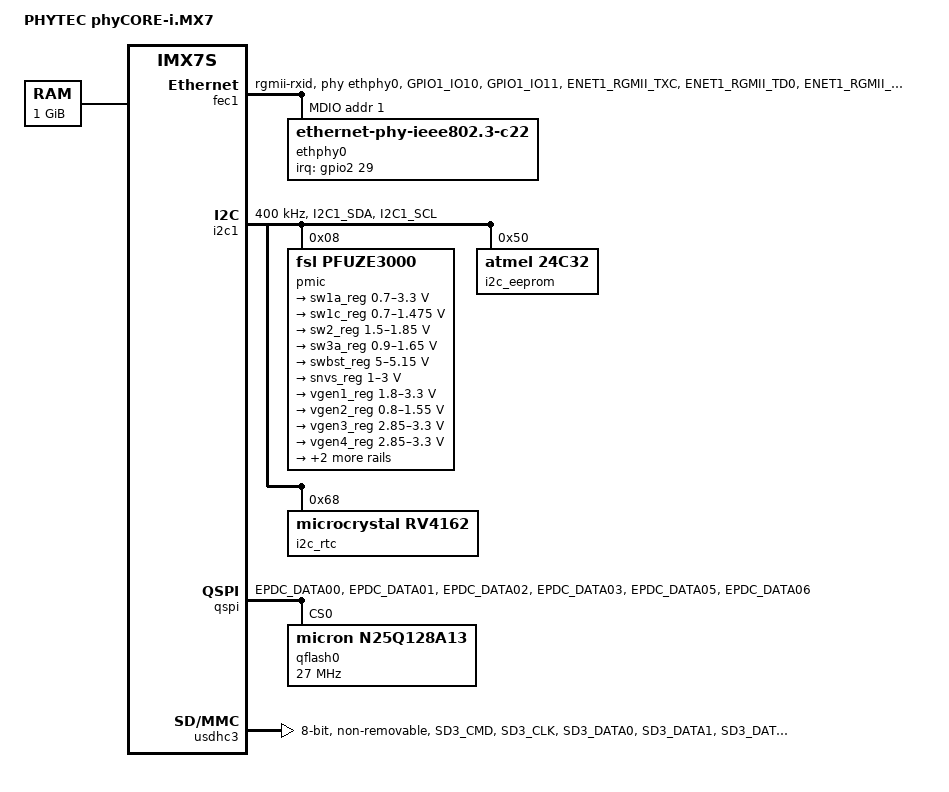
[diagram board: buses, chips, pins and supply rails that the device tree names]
// SPDX-License-Identifier: GPL-2.0-or-later
/* Copyright (C) 2015-2021 PHYTEC America, LLC */

#include <dt-bindings/input/input.h>

/ {
	model = "PHYTEC phyCORE-i.MX7";
	compatible = "phytec,imx7-phycore-som", "fsl,imx7d", "fsl,imx7s";

	memory@80000000 {
		device_type = "memory";
		reg = <0x80000000 0x40000000>;	/* 1GB */
	};

	reserved-memory {
		#address-cells = <1>;
		#size-cells = <1>;
		ranges;

		linux,cma {
			compatible = "shared-dma-pool";
			reusable;
			size = <0x4000000>;
			linux,cma-default;
		};
	};
};
/*
&busfreq {
	fsl,freq_scaling_disabled;
};
*/

&cpu0 {
	cpu-supply = <&sw1a_reg>;
};

&fec1 {
	pinctrl-names = "default";
	pinctrl-0 = <&pinctrl_enet1>;
	assigned-clocks = <&clks IMX7D_ENET1_TIME_ROOT_SRC>,
			<&clks IMX7D_ENET1_TIME_ROOT_CLK>;
	assigned-clock-parents = <&clks IMX7D_PLL_ENET_MAIN_100M_CLK>;
	assigned-clock-rates = <0>, <100000000>;
	phy-mode = "rgmii-rxid";
	phy-handle = <&ethphy0>;
	fsl,magic-packet;
	phy-reset-gpios = <&gpio2 28 GPIO_ACTIVE_LOW>;
	status = "okay";

	mdio: mdio {
		#address-cells = <1>;
		#size-cells = <0>;

		/* ETH1 PHY on SOM, 25MHz crystal */
		ethphy0: ethernet-phy@1 {
			compatible = "ethernet-phy-ieee802.3-c22";
			interrupt-parent = <&gpio2>;
			interrupts = <29 0>;
			reg = <1>;
		};
	};
};

&gpmi {
	pinctrl-names = "default";
	pinctrl-0 = <&pinctrl_gpmi_nand>;
	nand-on-flash-bbt;
	#address-cells = <1>;
	#size-cells = <1>;
	status = "disabled";
};

&i2c1 {
	clock-frequency = <400000>;
	pinctrl-names = "default";
	pinctrl-0 = <&pinctrl_i2c1>;
	status = "okay";

	pmic: pfuze3000@8 {
		pinctrl-names = "default";
		pinctrl-0 = <&pinctrl_pmic>;
		compatible = "fsl,pfuze3000";
		reg = <0x08>;

		regulators {
			sw1a_reg: sw1a {
				regulator-min-microvolt = <700000>;
				regulator-max-microvolt = <3300000>;
				regulator-boot-on;
				regulator-always-on;
				regulator-ramp-delay = <6250>;
			};

			/* use sw1c_reg to align with pfuze100/pfuze200 */
			sw1c_reg: sw1b {
				regulator-min-microvolt = <700000>;
				regulator-max-microvolt = <1475000>;
				regulator-boot-on;
				regulator-always-on;
				regulator-ramp-delay = <6250>;
			};

			sw2_reg: sw2 {
				regulator-min-microvolt = <1500000>;
				regulator-max-microvolt = <1850000>;
				regulator-boot-on;
				regulator-always-on;
			};

			sw3a_reg: sw3 {
				regulator-min-microvolt = <900000>;
				regulator-max-microvolt = <1650000>;
				regulator-boot-on;
				regulator-always-on;
			};

			swbst_reg: swbst {
				regulator-min-microvolt = <5000000>;
				regulator-max-microvolt = <5150000>;
			};

			snvs_reg: vsnvs {
				regulator-min-microvolt = <1000000>;
				regulator-max-microvolt = <3000000>;
				regulator-boot-on;
				regulator-always-on;
			};

			vref_reg: vrefddr {
				regulator-boot-on;
				regulator-always-on;
			};

			vgen1_reg: vldo1 {
				regulator-min-microvolt = <1800000>;
				regulator-max-microvolt = <3300000>;
				regulator-always-on;
			};

			vgen2_reg: vldo2 {
				regulator-min-microvolt = <800000>;
				regulator-max-microvolt = <1550000>;
				regulator-always-on;
			};

			vgen3_reg: vccsd {
				regulator-min-microvolt = <2850000>;
				regulator-max-microvolt = <3300000>;
				regulator-always-on;
			};

			vgen4_reg: v33 {
				regulator-min-microvolt = <2850000>;
				regulator-max-microvolt = <3300000>;
				regulator-always-on;
			};

			vgen5_reg: vldo3 {
				regulator-min-microvolt = <1800000>;
				regulator-max-microvolt = <3300000>;
				regulator-always-on;
			};

			vgen6_reg: vldo4 {
				regulator-min-microvolt = <1800000>;
				regulator-max-microvolt = <3300000>;
				regulator-always-on;
			};
		};
	};

	i2c_eeprom: eeprom@50 {
		compatible = "atmel,24c32";
		pagesize = <32>;
		reg = <0x50>;
	};

	i2c_rtc: rtc@68 {
		compatible = "microcrystal,rv4162";
		reg = <0x68>;
	};
};


&qspi {
	pinctrl-names = "default";
	pinctrl-0 = <&pinctrl_qspi>;
	status = "okay";

	qflash0: norflash@0 {
		#address-cells = <1>;
		#size-cells = <1>;
		compatible = "micron,n25q128a13", "jedec,spi-nor";
		reg = <0>;
		spi-max-frequency = <27000000>; /* 108MHz/4 */
		m25p,fast-read;
	};
};

&usdhc3 {
	pinctrl-names = "default", "state_100mhz", "state_200mhz";
	pinctrl-0 = <&pinctrl_usdhc3>;
	pinctrl-1 = <&pinctrl_usdhc3_100mhz>;
	pinctrl-2 = <&pinctrl_usdhc3_200mhz>;
	assigned-clocks = <&clks IMX7D_USDHC3_ROOT_CLK>;
	assigned-clock-rates = <400000000>;
	max-frequency = <100000000>;
	bus-width = <8>;
	tuning-step = <2>;
	non-removable;
	auto-cmd23-broken;
	status = "okay";
};

&iomuxc {
	pinctrl_enet1: enet1grp {
		fsl,pins = <
			MX7D_PAD_GPIO1_IO10__ENET1_MDIO			0x7
			MX7D_PAD_GPIO1_IO11__ENET1_MDC			0x7
			MX7D_PAD_ENET1_RGMII_TXC__ENET1_RGMII_TXC	0x5
			MX7D_PAD_ENET1_RGMII_TD0__ENET1_RGMII_TD0	0x5
			MX7D_PAD_ENET1_RGMII_TD1__ENET1_RGMII_TD1	0x5
			MX7D_PAD_ENET1_RGMII_TD2__ENET1_RGMII_TD2	0x5
			MX7D_PAD_ENET1_RGMII_TD3__ENET1_RGMII_TD3	0x5
			MX7D_PAD_ENET1_RGMII_TX_CTL__ENET1_RGMII_TX_CTL	0x5
			MX7D_PAD_ENET1_RGMII_RXC__ENET1_RGMII_RXC	0x5
			MX7D_PAD_ENET1_RGMII_RD0__ENET1_RGMII_RD0	0x5
			MX7D_PAD_ENET1_RGMII_RD1__ENET1_RGMII_RD1	0x5
			MX7D_PAD_ENET1_RGMII_RD2__ENET1_RGMII_RD2	0x5
			MX7D_PAD_ENET1_RGMII_RD3__ENET1_RGMII_RD3	0x5
			MX7D_PAD_ENET1_RGMII_RX_CTL__ENET1_RGMII_RX_CTL	0x5
			/* ETH1 RESET_N */
			MX7D_PAD_EPDC_BDR0__GPIO2_IO28			0x59
			/* ETH1 INT_N */
			MX7D_PAD_EPDC_BDR1__GPIO2_IO29			0x59
		>;
	};

	pinctrl_gpmi_nand: gpmi-nandgrp {
		fsl,pins = <
			MX7D_PAD_SD3_CLK__NAND_CLE		0x72
			MX7D_PAD_SD3_CMD__NAND_ALE		0x76
			MX7D_PAD_SAI1_MCLK__NAND_WP_B		0x72
			MX7D_PAD_SAI1_TX_BCLK__NAND_CE0_B	0x72
			MX7D_PAD_SAI1_RX_DATA__NAND_CE1_B	0x72
			MX7D_PAD_SAI1_TX_DATA__NAND_READY_B	0x76
			MX7D_PAD_SD3_RESET_B__NAND_WE_B		0x71
			MX7D_PAD_SD3_STROBE__NAND_RE_B		0x72
			MX7D_PAD_SD3_DATA0__NAND_DATA00		0x72
			MX7D_PAD_SD3_DATA1__NAND_DATA01		0x72
			MX7D_PAD_SD3_DATA2__NAND_DATA02		0x72
			MX7D_PAD_SD3_DATA3__NAND_DATA03		0x72
			MX7D_PAD_SD3_DATA4__NAND_DATA04		0x72
			MX7D_PAD_SD3_DATA5__NAND_DATA05		0x72
			MX7D_PAD_SD3_DATA6__NAND_DATA06		0x72
			MX7D_PAD_SD3_DATA7__NAND_DATA07		0x72
		>;
	};

	pinctrl_i2c1: i2c1grp {
		fsl,pins = <
			MX7D_PAD_I2C1_SDA__I2C1_SDA	0x4000007e
			MX7D_PAD_I2C1_SCL__I2C1_SCL	0x4000007e
		>;
	};

	pinctrl_pmic: pmicgrp {
		fsl,pins = <
			MX7D_PAD_GPIO1_IO08__SD1_VSELECT	0x59
		>;
	};

	pinctrl_qspi: qspigrp {
		fsl,pins = <
			MX7D_PAD_EPDC_DATA00__QSPI_A_DATA0	0x51
			MX7D_PAD_EPDC_DATA01__QSPI_A_DATA1	0x51
			MX7D_PAD_EPDC_DATA02__QSPI_A_DATA2	0x51
			MX7D_PAD_EPDC_DATA03__QSPI_A_DATA3	0x51
			MX7D_PAD_EPDC_DATA05__QSPI_A_SCLK	0x51
			MX7D_PAD_EPDC_DATA06__QSPI_A_SS0_B	0x51
		>;
	};

	pinctrl_usdhc3: usdhc3grp {
		fsl,pins = <
			MX7D_PAD_SD3_CMD__SD3_CMD	0x5d
			MX7D_PAD_SD3_CLK__SD3_CLK	0x1d
			MX7D_PAD_SD3_DATA0__SD3_DATA0	0x5d
			MX7D_PAD_SD3_DATA1__SD3_DATA1	0x5d
			MX7D_PAD_SD3_DATA2__SD3_DATA2	0x5d
			MX7D_PAD_SD3_DATA3__SD3_DATA3	0x5d
			MX7D_PAD_SD3_DATA4__SD3_DATA4	0x5d
			MX7D_PAD_SD3_DATA5__SD3_DATA5	0x5d
			MX7D_PAD_SD3_DATA6__SD3_DATA6	0x5d
			MX7D_PAD_SD3_DATA7__SD3_DATA7	0x5d
			MX7D_PAD_SD3_STROBE__SD3_STROBE	0x1d
		>;
	};

	pinctrl_usdhc3_100mhz: usdhc3-100mhzgrp {
		fsl,pins = <
			MX7D_PAD_SD3_CMD__SD3_CMD	0x5e
			MX7D_PAD_SD3_CLK__SD3_CLK	0x1e
			MX7D_PAD_SD3_DATA0__SD3_DATA0	0x5e
			MX7D_PAD_SD3_DATA1__SD3_DATA1	0x5e
			MX7D_PAD_SD3_DATA2__SD3_DATA2	0x5e
			MX7D_PAD_SD3_DATA3__SD3_DATA3	0x5e
			MX7D_PAD_SD3_DATA4__SD3_DATA4	0x5e
			MX7D_PAD_SD3_DATA5__SD3_DATA5	0x5e
			MX7D_PAD_SD3_DATA6__SD3_DATA6	0x5e
			MX7D_PAD_SD3_DATA7__SD3_DATA7	0x5e
			MX7D_PAD_SD3_STROBE__SD3_STROBE	0x1e
		>;
	};

	pinctrl_usdhc3_200mhz: usdhc3-200mhzgrp {
		fsl,pins = <
			MX7D_PAD_SD3_CMD__SD3_CMD	0x59
			MX7D_PAD_SD3_CLK__SD3_CLK	0x09
			MX7D_PAD_SD3_DATA0__SD3_DATA0	0x59
			MX7D_PAD_SD3_DATA1__SD3_DATA1	0x59
			MX7D_PAD_SD3_DATA2__SD3_DATA2	0x59
			MX7D_PAD_SD3_DATA3__SD3_DATA3	0x59
			MX7D_PAD_SD3_DATA4__SD3_DATA4	0x59
			MX7D_PAD_SD3_DATA5__SD3_DATA5	0x59
			MX7D_PAD_SD3_DATA6__SD3_DATA6	0x59
			MX7D_PAD_SD3_DATA7__SD3_DATA7	0x59
			MX7D_PAD_SD3_STROBE__SD3_STROBE	0x19
		>;
	};
};
